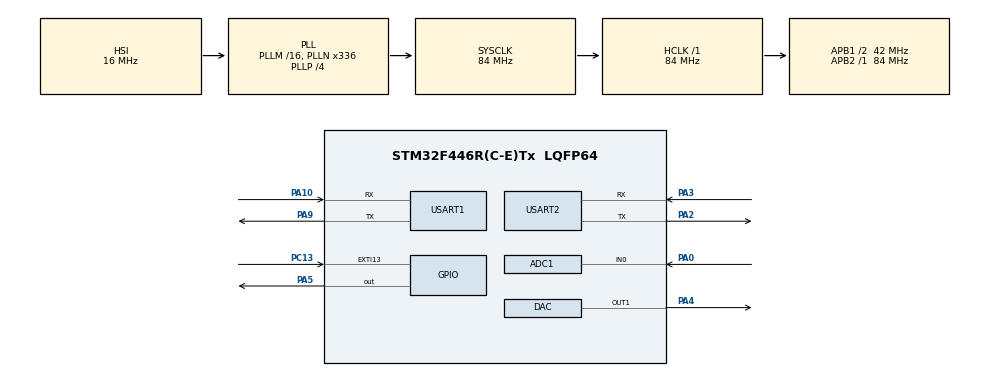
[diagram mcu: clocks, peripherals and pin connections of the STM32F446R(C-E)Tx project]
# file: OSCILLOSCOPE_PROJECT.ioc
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ADC1.Channel-0\#ChannelRegularConversion=ADC_CHANNEL_0
ADC1.NbrOfConversionFlag=1
ADC1.Rank-0\#ChannelRegularConversion=1
ADC1.SamplingTime-0\#ChannelRegularConversion=ADC_SAMPLETIME_3CYCLES
ADC1.master=1
Dma.ADC1.1.Direction=DMA_PERIPH_TO_MEMORY
Dma.ADC1.1.FIFOMode=DMA_FIFOMODE_DISABLE
Dma.ADC1.1.Instance=DMA2_Stream0
Dma.ADC1.1.MemDataAlignment=DMA_MDATAALIGN_HALFWORD
Dma.ADC1.1.MemInc=DMA_MINC_ENABLE
Dma.ADC1.1.Mode=DMA_CIRCULAR
Dma.ADC1.1.PeriphDataAlignment=DMA_PDATAALIGN_HALFWORD
Dma.ADC1.1.PeriphInc=DMA_PINC_DISABLE
Dma.ADC1.1.Priority=DMA_PRIORITY_LOW
Dma.Request0=USART1_TX
Dma.Request1=ADC1
Dma.USART1_TX.0.Direction=DMA_MEMORY_TO_PERIPH
Dma.USART1_TX.0.FIFOMode=DMA_FIFOMODE_DISABLE
Dma.USART1_TX.0.Instance=DMA2_Stream7
Dma.USART1_TX.0.MemDataAlignment=DMA_MDATAALIGN_BYTE
Dma.USART1_TX.0.MemInc=DMA_MINC_ENABLE
Dma.USART1_TX.0.Mode=DMA_CIRCULAR
Dma.USART1_TX.0.PeriphDataAlignment=DMA_PDATAALIGN_BYTE
Dma.USART1_TX.0.PeriphInc=DMA_PINC_DISABLE
Dma.USART1_TX.0.Priority=DMA_PRIORITY_LOW
Mcu.Family=STM32F4
Mcu.Name=STM32F446R(C-E)Tx
Mcu.Package=LQFP64
NUCLEO-F446RE.BUTTON=1
NUCLEO-F446RE.LD1=true
NVIC.DMA2_Stream0_IRQn=true\:0\:0\:false\:false\:true\:false\:true\:true
NVIC.DMA2_Stream7_IRQn=true\:0\:0\:false\:false\:true\:false\:true\:true
NVIC.EXTI15_10_IRQn=true\:0\:0\:false\:false\:true\:false\:true\:true
NVIC.PriorityGroup=NVIC_PRIORITYGROUP_0
NVIC.TIM2_IRQn=true\:0\:0\:false\:false\:true\:true\:true\:true
PA0-WKUP.Signal=ADCx_IN0
PA10.Mode=Asynchronous
PA10.Signal=USART1_RX
PA13.GPIO_Label=TMS
PA13.Signal=SYS_JTMS-SWDIO
PA14.GPIO_Label=TCK
PA14.Signal=SYS_JTCK-SWCLK
PA2.GPIO_ModeDefaultPP=GPIO_MODE_AF_PP
PA2.GPIO_PuPd=GPIO_NOPULL
PA2.GPIO_Speed=GPIO_SPEED_FREQ_VERY_HIGH
PA2.Mode=Asynchronous
PA2.Signal=USART2_TX
PA3.GPIO_ModeDefaultPP=GPIO_MODE_AF_PP
PA3.GPIO_PuPd=GPIO_NOPULL
PA3.GPIO_Speed=GPIO_SPEED_FREQ_VERY_HIGH
PA3.Mode=Asynchronous
PA3.Signal=USART2_RX
PA4.Signal=COMP_DAC1_group
PA5.Signal=GPIO_Output
PA9.Mode=Asynchronous
PA9.Signal=USART1_TX
PB3.GPIO_Label=SWO
PB3.Signal=SYS_JTDO-SWO
PC13.Signal=GPXTI13
PC14-OSC32_IN.Signal=RCC_OSC32_IN
PC15-OSC32_OUT.Signal=RCC_OSC32_OUT
PH0-OSC_IN.Signal=RCC_OSC_IN
PH1-OSC_OUT.Signal=RCC_OSC_OUT
ProjectManager.HeapSize=0x200
ProjectManager.StackSize=0x400
ProjectManager.TargetToolchain=STM32CubeIDE
RCC.AHBFreq_Value=84000000
RCC.APB1CLKDivider=RCC_HCLK_DIV2
RCC.APB1Freq_Value=42000000
RCC.APB1TimFreq_Value=84000000
RCC.APB2Freq_Value=84000000
RCC.APB2TimFreq_Value=84000000
RCC.CortexFreq_Value=84000000
RCC.FLatency-AdvancedSettings=FLASH_LATENCY_2
RCC.HCLKFreq_Value=84000000
RCC.HSE_VALUE=8000000
RCC.HSI_VALUE=16000000
RCC.LSE_VALUE=32768
RCC.PLLN=336
RCC.PLLP=RCC_PLLP_DIV4
RCC.SYSCLKFreq_VALUE=84000000
RCC.SYSCLKSource=RCC_SYSCLKSOURCE_PLLCLK
RCC.USBFreq_Value=168000000
RCC.VCOOutputFreq_Value=336000000
SH.ADCx_IN0.0=ADC1_IN0,IN0
SH.COMP_DAC1_group.0=DAC_OUT1,DAC_OUT1
TIM2.Period=500-1
TIM2.Prescaler=8400-1
USART1.VirtualMode=VM_ASYNC
USART2.VirtualMode=VM_ASYNC
VP_NUCLEO-F446RE_VS_BSP_COMMON.Mode=COMMON
VP_TIM2_VS_ClockSourceINT.Mode=Internal
board=NUCLEO-F446RE

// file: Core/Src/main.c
/* USER CODE BEGIN Header */
/**
  ******************************************************************************
  * @file           : main.c
  * @brief          : Main program body
  ******************************************************************************
  * @attention
  *
  * Copyright (c) 2026 STMicroelectronics.
  * All rights reserved.
  *
  * This software is licensed under terms that can be found in the LICENSE file
  * in the root directory of this software component.
  * If no LICENSE file comes with this software, it is provided AS-IS.
  *
  ******************************************************************************
  */
/* USER CODE END Header */
#include "main.h"

/* USER CODE BEGIN Includes */

#include <math.h> // may be used for waveform generation
#include <stdio.h> // be used for sprintf() function to store string in a butter
#include <string.h> // used for strlen() function in UART transmission
#include <stdbool.h> // unlike in C++, you need to include this library to use bool variables

/* USER CODE END Includes */

/* USER CODE BEGIN PD */
#define ADC_BUFFER_SIZE 40 // 20 ADC samples per second, and each one is a 12-bit value, round up to 16-bit (2 bytes), So 20 * 2 bytes is the size of the buffer
/* USER CODE END PD */

ADC_HandleTypeDef hadc1;
DMA_HandleTypeDef hdma_adc1;

DAC_HandleTypeDef hdac;

TIM_HandleTypeDef htim2;

UART_HandleTypeDef huart1;
UART_HandleTypeDef huart2;
DMA_HandleTypeDef hdma_usart1_tx;

/* USER CODE BEGIN PV */
// TODO: Use Circular DMA (direct memory access) to store ADC samples into buffers rather than continuously sampling, do this to conserve CPU resources
uint16_t dacValue = 0;
uint8_t tableIndex = 0; // make sure to initialize here, NOT in the timer interrupt service routine function, or else it gets redefined in there every time
uint16_t adcValue = 0;
volatile bool sampled = false; // volatile indicating variable could change between timer ISR and main()
char adcString[32];

uint16_t adcBuffer[ADC_BUFFER_SIZE];
uint8_t halfBufferCount = 0;
uint8_t fullBufferCount = 0;

// sine wave table values  generated from web site below:
// https://deepbluembedded.com/sine-lookup-table-generator-calculator/

const uint16_t sineWaveLookupTable[] = {
		  2048, 2176, 2304, 2431, 2557, 2680, 2801, 2919,
		  3034, 3145, 3251, 3353, 3449, 3540, 3625, 3704,
		  3776, 3842, 3900, 3951, 3995, 4031, 4059, 4079,
		  4091, 4095, 4091, 4079, 4059, 4031, 3995, 3951,
		  3900, 3842, 3776, 3704, 3625, 3540, 3449, 3353,
		  3251, 3145, 3034, 2919, 2801, 2680, 2557, 2431,
		  2304, 2176, 2048, 1919, 1791, 1664, 1538, 1415,
		  1294, 1176, 1061, 950, 844, 742, 646, 555,
		  470, 391, 319, 253, 195, 144, 100, 64,
		  36, 16, 4, 0, 4, 16, 36, 64,
		  100, 144, 195, 253, 319, 391, 470, 555,
		  646, 742, 844, 950, 1061, 1176, 1294, 1415,
		  1538, 1664, 1791, 1919
};
/* USER CODE END PV */

void SystemClock_Config(void);
static void MX_GPIO_Init(void);
static void MX_DMA_Init(void);
static void MX_ADC1_Init(void);
static void MX_USART2_UART_Init(void);
static void MX_DAC_Init(void);
static void MX_USART1_UART_Init(void);
static void MX_TIM2_Init(void);

int main(void)
{

  /* MCU Configuration--------------------------------------------------------*/

  /* Reset of all peripherals, Initializes the Flash interface and the Systick. */
  HAL_Init();

  /* Configure the system clock */
  SystemClock_Config();

  /* Initialize all configured peripherals */
  MX_GPIO_Init();
  MX_DMA_Init();
  MX_ADC1_Init();
  MX_USART2_UART_Init();
  MX_DAC_Init();
  MX_USART1_UART_Init();
  MX_TIM2_Init();
  /* USER CODE BEGIN 2 */
  HAL_TIM_Base_Start_IT(&htim2); // needs to be after MX_TIM2_INit(), NOT at USER CODE BEGIN 1, and need to use _IT version of function to start the timer in interrupt mode
  HAL_DAC_Start(&hdac, DAC_CHANNEL_1); // Need to be after the DAC and DAC peripherals are initialized!
  HAL_ADC_Start_DMA(&hadc1, (uint32_t*) adcBuffer, ADC_BUFFER_SIZE); // 32-bit casted address of DMA buffer (which was originally declared as 16-bit) is needed, not the values (12-bit values like 2048 are not needed)

  /* USER CODE END 2 */

  /* Initialize leds */
  BSP_LED_Init(LED2);

  /* Initialize USER push-button, will be used to trigger an interrupt each time it's pressed.*/
  BSP_PB_Init(BUTTON_USER, BUTTON_MODE_EXTI);

  /* USER CODE BEGIN WHILE */

  while (1 == 1)
  {

	  if (sampled) { // Only if flag is set in timer ISR (ISR itself is short and concise, no intensive functions or software delays there)
		  sprintf(adcString, "%u\r\n", adcValue); // stores this formatted text in adcString (need <stdio.h> and <string.h>), need only the numbers or else there are parsing errors in Python code when casting to int
		  HAL_UART_Transmit(&huart2, (uint8_t*) adcString, strlen(adcString), 1);
		  sampled = false;
	  }

    /* USER CODE END WHILE */

  }
}

void SystemClock_Config(void)
{
  RCC_OscInitTypeDef RCC_OscInitStruct = {0};
  RCC_ClkInitTypeDef RCC_ClkInitStruct = {0};

  /** Configure the main internal regulator output voltage
  */
  __HAL_RCC_PWR_CLK_ENABLE();
  __HAL_PWR_VOLTAGESCALING_CONFIG(PWR_REGULATOR_VOLTAGE_SCALE3);

  /** Initializes the RCC Oscillators according to the specified parameters
  * in the RCC_OscInitTypeDef structure.
  */
  RCC_OscInitStruct.OscillatorType = RCC_OSCILLATORTYPE_HSI;
  RCC_OscInitStruct.HSIState = RCC_HSI_ON;
  RCC_OscInitStruct.HSICalibrationValue = RCC_HSICALIBRATION_DEFAULT;
  RCC_OscInitStruct.PLL.PLLState = RCC_PLL_ON;
  RCC_OscInitStruct.PLL.PLLSource = RCC_PLLSOURCE_HSI;
  RCC_OscInitStruct.PLL.PLLM = 16;
  RCC_OscInitStruct.PLL.PLLN = 336;
  RCC_OscInitStruct.PLL.PLLP = RCC_PLLP_DIV4;
  RCC_OscInitStruct.PLL.PLLQ = 2;
  RCC_OscInitStruct.PLL.PLLR = 2;
  if (HAL_RCC_OscConfig(&RCC_OscInitStruct) != HAL_OK)
  {
    Error_Handler();
  }

  /** Initializes the CPU, AHB and APB buses clocks
  */
  RCC_ClkInitStruct.ClockType = RCC_CLOCKTYPE_HCLK|RCC_CLOCKTYPE_SYSCLK
                              |RCC_CLOCKTYPE_PCLK1|RCC_CLOCKTYPE_PCLK2;
  RCC_ClkInitStruct.SYSCLKSource = RCC_SYSCLKSOURCE_PLLCLK;
  RCC_ClkInitStruct.AHBCLKDivider = RCC_SYSCLK_DIV1;
  RCC_ClkInitStruct.APB1CLKDivider = RCC_HCLK_DIV2;
  RCC_ClkInitStruct.APB2CLKDivider = RCC_HCLK_DIV1;

  if (HAL_RCC_ClockConfig(&RCC_ClkInitStruct, FLASH_LATENCY_2) != HAL_OK)
  {
    Error_Handler();
  }
}

static void MX_ADC1_Init(void)
{

  ADC_ChannelConfTypeDef sConfig = {0};

  /** Configure the global features of the ADC (Clock, Resolution, Data Alignment and number of conversion)
  */
  hadc1.Instance = ADC1;
  hadc1.Init.ClockPrescaler = ADC_CLOCK_SYNC_PCLK_DIV4;
  hadc1.Init.Resolution = ADC_RESOLUTION_12B;
  hadc1.Init.ScanConvMode = DISABLE;
  hadc1.Init.ContinuousConvMode = DISABLE;
  hadc1.Init.DiscontinuousConvMode = DISABLE;
  hadc1.Init.ExternalTrigConvEdge = ADC_EXTERNALTRIGCONVEDGE_NONE;
  hadc1.Init.ExternalTrigConv = ADC_SOFTWARE_START;
  hadc1.Init.DataAlign = ADC_DATAALIGN_RIGHT;
  hadc1.Init.NbrOfConversion = 1;
  hadc1.Init.DMAContinuousRequests = DISABLE;
  hadc1.Init.EOCSelection = ADC_EOC_SINGLE_CONV;
  if (HAL_ADC_Init(&hadc1) != HAL_OK)
  {
    Error_Handler();
  }

  /** Configure for the selected ADC regular channel its corresponding rank in the sequencer and its sample time.
  */
  sConfig.Channel = ADC_CHANNEL_0;
  sConfig.Rank = 1;
  sConfig.SamplingTime = ADC_SAMPLETIME_3CYCLES;
  if (HAL_ADC_ConfigChannel(&hadc1, &sConfig) != HAL_OK)
  {
    Error_Handler();
  }

}

static void MX_DAC_Init(void)
{

  DAC_ChannelConfTypeDef sConfig = {0};

  /** DAC Initialization
  */
  hdac.Instance = DAC;
  if (HAL_DAC_Init(&hdac) != HAL_OK)
  {
    Error_Handler();
  }

  /** DAC channel OUT1 config
  */
  sConfig.DAC_Trigger = DAC_TRIGGER_NONE;
  sConfig.DAC_OutputBuffer = DAC_OUTPUTBUFFER_ENABLE;
  if (HAL_DAC_ConfigChannel(&hdac, &sConfig, DAC_CHANNEL_1) != HAL_OK)
  {
    Error_Handler();
  }

}

static void MX_TIM2_Init(void)
{

  TIM_ClockConfigTypeDef sClockSourceConfig = {0};
  TIM_MasterConfigTypeDef sMasterConfig = {0};

  htim2.Instance = TIM2;
  htim2.Init.Prescaler = 8400-1;
  htim2.Init.CounterMode = TIM_COUNTERMODE_UP;
  htim2.Init.Period = 500-1;
  htim2.Init.ClockDivision = TIM_CLOCKDIVISION_DIV1;
  htim2.Init.AutoReloadPreload = TIM_AUTORELOAD_PRELOAD_DISABLE;
  if (HAL_TIM_Base_Init(&htim2) != HAL_OK)
  {
    Error_Handler();
  }
  sClockSourceConfig.ClockSource = TIM_CLOCKSOURCE_INTERNAL;
  if (HAL_TIM_ConfigClockSource(&htim2, &sClockSourceConfig) != HAL_OK)
  {
    Error_Handler();
  }
  sMasterConfig.MasterOutputTrigger = TIM_TRGO_RESET;
  sMasterConfig.MasterSlaveMode = TIM_MASTERSLAVEMODE_DISABLE;
  if (HAL_TIMEx_MasterConfigSynchronization(&htim2, &sMasterConfig) != HAL_OK)
  {
    Error_Handler();
  }

}

static void MX_USART1_UART_Init(void)
{

  huart1.Instance = USART1;
  huart1.Init.BaudRate = 115200;
  huart1.Init.WordLength = UART_WORDLENGTH_8B;
  huart1.Init.StopBits = UART_STOPBITS_1;
  huart1.Init.Parity = UART_PARITY_NONE;
  huart1.Init.Mode = UART_MODE_TX_RX;
  huart1.Init.HwFlowCtl = UART_HWCONTROL_NONE;
  huart1.Init.OverSampling = UART_OVERSAMPLING_16;
  if (HAL_UART_Init(&huart1) != HAL_OK)
  {
    Error_Handler();
  }

}

static void MX_USART2_UART_Init(void)
{

  huart2.Instance = USART2;
  huart2.Init.BaudRate = 115200;
  huart2.Init.WordLength = UART_WORDLENGTH_8B;
  huart2.Init.StopBits = UART_STOPBITS_1;
  huart2.Init.Parity = UART_PARITY_NONE;
  huart2.Init.Mode = UART_MODE_TX_RX;
  huart2.Init.HwFlowCtl = UART_HWCONTROL_NONE;
  huart2.Init.OverSampling = UART_OVERSAMPLING_16;
  if (HAL_UART_Init(&huart2) != HAL_OK)
  {
    Error_Handler();
  }

}

static void MX_DMA_Init(void)
{

  /* DMA controller clock enable */
  __HAL_RCC_DMA2_CLK_ENABLE();

  /* DMA interrupt init */
  /* DMA2_Stream0_IRQn interrupt configuration */
  HAL_NVIC_SetPriority(DMA2_Stream0_IRQn, 0, 0);
  HAL_NVIC_EnableIRQ(DMA2_Stream0_IRQn);
  /* DMA2_Stream7_IRQn interrupt configuration */
  HAL_NVIC_SetPriority(DMA2_Stream7_IRQn, 0, 0);
  HAL_NVIC_EnableIRQ(DMA2_Stream7_IRQn);

}

static void MX_GPIO_Init(void)
{

  /* GPIO Ports Clock Enable */
  __HAL_RCC_GPIOC_CLK_ENABLE();
  __HAL_RCC_GPIOH_CLK_ENABLE();
  __HAL_RCC_GPIOA_CLK_ENABLE();
  __HAL_RCC_GPIOB_CLK_ENABLE();

}

/* USER CODE BEGIN 4 */
// Don't make the mistake of accidentally putting this in USER CODE BEGIN 2, where main() is defined

void HAL_TIM_PeriodElapsedCallback(TIM_HandleTypeDef *htim)
{
  /* Prevent unused argument(s) compilation warning */
  UNUSED(htim);

  /* NOTE : This function should not be modified, when the callback is needed,
            the HAL_TIM_PeriodElapsedCallback could be implemented in the user file
   */

 if (htim->Instance == TIM2) { // use if statement, otherwise there would be no point in using timer interrupts
	  sampled = true; // a flag for ADC 12-bit conversion to string function and UART transmission to be exceuted in the while loop. Flag is needed so that those functions only work when this happens, avoiding software delays within this timer ISR

	  dacValue = sineWaveLookupTable[tableIndex];

	  ++tableIndex;

	  if (tableIndex == 99) { // make sure to update this ending index or else the sine wave may end up looking like a sawtooth wave or something completely unintended!! (also remember zero-based indexing)
		  tableIndex = 0;
	  }

	  HAL_DAC_SetValue (&hdac, DAC_CHANNEL_1, DAC_ALIGN_12B_R, dacValue);

	  HAL_ADC_Start(&hadc1); // (ADC1 is one of the ADC peripherals on the Nucleo F446re, it is not a channel of one ADC peripheral), unlike DAC peripheral, ADC1 needs to continuously start inside this timer ISR for non-constant ADC values to be received, not sure why
	  HAL_ADC_PollForConversion(&hadc1, HAL_MAX_DELAY); // needed so ADC values don't overlap

	  adcValue = HAL_ADC_GetValue(&hadc1);
 }

}

void HAL_ADC_ConvHalfCpltCallback(ADC_HandleTypeDef *hadc) { // the general ADC peripheral handle is needed, not a specific one
	++halfBufferCount;
}

void HAL_ADC_ConvCpltCallback(ADC_HandleTypeDef *hadc) { // the general ADC peripheral handle is needed, not a specific one
	++fullBufferCount;
}
/* USER CODE END 4 */

void Error_Handler(void)
{
  __disable_irq();
  while (1)
  {
  }
}
